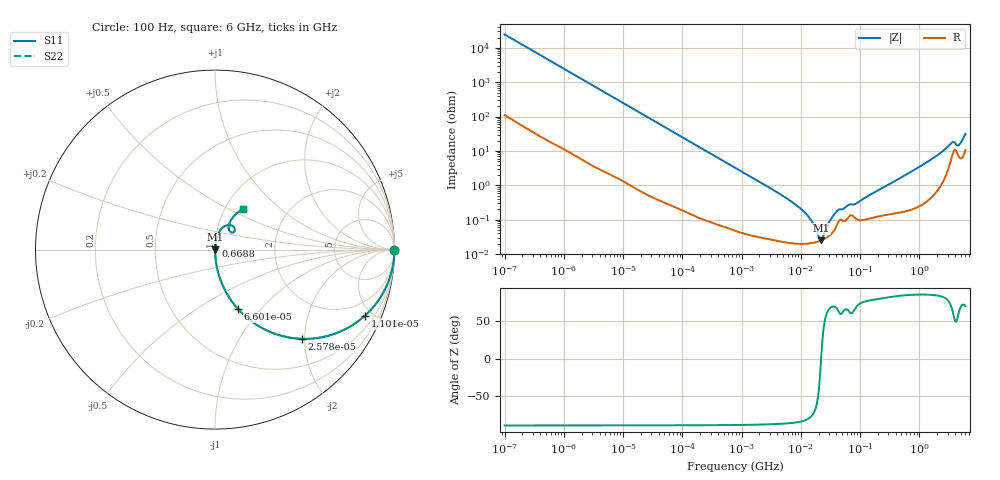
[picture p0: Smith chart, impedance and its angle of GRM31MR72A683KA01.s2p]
!Murata Part Number: GRM31MR72A683KA01
!These Parameters are Measured in Series Mode Connection
!Data Generated on Mar 30, 2021
!  o--ll--o
!Port1  Port2
!  o------o
!Operation Temp=25[degC], DC Bias Voltage=0[V]
!Freq. Start=100[Hz] Stop=6[GHz] 401[Steps]
# Hz S RI R 50
!Freq.(Hz) S11(Real) S11(Imag) S21(Real) S21(Imag) S12(Real) S12(Imag) S22(Real) S22(Imag)
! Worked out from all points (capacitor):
!   401 points, 100 Hz to 6 GHz, reference 50 ohm
!   read as one part in series: C = 64.8 nF near 109 Hz
!   lowest |Z| = 25 mohm at 22.26 MHz (marker M1)
!   series resonance near 22.02 MHz, so ESL is about 810 pH
!   S11 on the Smith chart (normalised r, x): 100 Hz: open; 11.01 kHz: 1.02, -4.52; 25.78 kHz: 1.01, -1.93; 66 kHz: 1.01, -0.76; 668.8 MHz: 1.00, +0.05; 6 GHz: 1.21, +0.59
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100  1 -0.00408  3.5e-05 0.00408  3.5e-05 0.00408  1 -0.00408
2008  0.9931 -0.0806  0.00691 0.0806  0.00691 0.0806  0.9931 -0.0806
5625  0.9501 -0.2153  0.0499 0.2153  0.0499 0.2153  0.9501 -0.2153
11009  0.8347 -0.3688  0.1653 0.3688  0.1653 0.3688  0.8347 -0.3688
25777  0.4832 -0.497  0.5168 0.497  0.5168 0.497  0.4832 -0.497
40335  0.278 -0.4451  0.722 0.4451  0.722 0.4451  0.278 -0.4451
66005  0.1271 -0.3298  0.8729 0.3298  0.8729 0.3298  0.1271 -0.3298
193316  0.0177 -0.1275  0.9823 0.1275  0.9823 0.1275  0.0177 -0.1275
774597  0.00153 -0.0326  0.9985 0.0326  0.9985 0.0326  0.00153 -0.0326
6948629  0.000216 -0.00334  0.9998 0.00334  0.9998 0.00334  0.000216 -0.00334
1.137099e7  0.000199 -0.00167  0.9998 0.00167  0.9998 0.00167  0.000199 -0.00167
1.555665e7  0.000209 -0.000838  0.9998 0.000838  0.9998 0.000838  0.000209 -0.000838
2.035112e7  0.000235 -0.000188  0.9998 0.000188  0.9998 0.000188  0.000235 -0.000188
2.225763e7  0.000249 2.55e-05  0.9998 -2.55e-05  0.9998 -2.55e-05  0.000249 2.55e-05
3.184506e7  0.000367 0.000924  0.9996 -0.000924  0.9996 -0.000924  0.000367 0.000924
4.165952e7  0.000748 0.00168  0.9993 -0.00168  0.9993 -0.00168  0.000748 0.00168
8.527865e7  0.00106 0.0027  0.9989 -0.0027  0.9989 -0.0027  0.00106 0.0027
3.124326e8  0.00153 0.0106  0.9985 -0.0106  0.9985 -0.0106  0.00153 0.0106
6.688484e8  0.00235 0.0226  0.9976 -0.0226  0.9976 -0.0226  0.00235 0.0226
3.505958e9  0.0791 0.1376  0.9209 -0.1376  0.9209 -0.1376  0.0791 0.1376
4.586474e9  0.0791 0.1071  0.9209 -0.1071  0.9209 -0.1071  0.0791 0.1071
6e9  0.1565 0.2265  0.8435 -0.2265  0.8435 -0.2265  0.1565 0.2265
